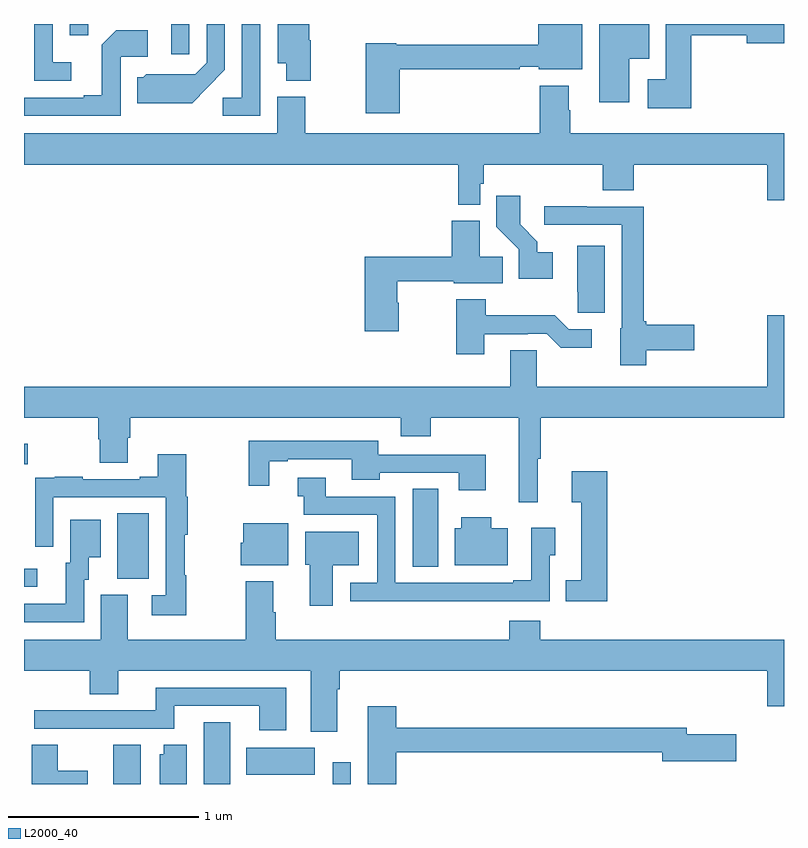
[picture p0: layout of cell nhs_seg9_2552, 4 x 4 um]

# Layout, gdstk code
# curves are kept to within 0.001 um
import gdstk
lib = gdstk.Library(unit=1e-6, precision=1e-09)
def R(c, l, rs):  # rectangles x0, y0, x1, y1
    for r in rs: c.add(gdstk.rectangle(r[:2], r[2:], *l))
def P(c, l, *ps):  # polygons
    for p in ps: c.add(gdstk.Polygon(p, *l))
L2000_40 = (2000, 40)

nhs_seg9_2552 = lib.new_cell('nhs_seg9_2552')
R(nhs_seg9_2552, L2000_40, [(257.471,1186.5,257.614,1186.706), (257.945,1186.5,258.085,1186.826), (258.624,1186.5,258.72,1186.615), (258.17,1186.55,258.529,1186.69), (257,1187.538,257.071,1187.634), (257.492,1187.581,257.656,1187.924), (259.046,1187.644,259.18,1188.053), (257,1188.182,257.02,1188.292), (257.775,1190.34,257.871,1190.5), (257.241,1190.44,257.339,1190.5)])
P(nhs_seg9_2552, L2000_40, [(260.185,1190.318),(260.29,1190.318),(260.29,1190.5),(260.027,1190.5),(260.027,1190.088),(260.185,1190.088)],
  [(260.513,1190.44),(260.804,1190.44),(260.804,1190.398),(261,1190.398),(261,1190.5),(260.378,1190.5),(260.378,1190.209),(260.283,1190.209),(260.283,1190.057),(260.513,1190.057)],
  [(258.243,1190.5),(258.147,1190.5),(258.147,1190.112),(258.045,1190.112),(258.045,1190.016),(258.243,1190.016)],
  [(257.965,1190.165),(258.057,1190.258),(258.057,1190.5),(257.961,1190.5),(257.961,1190.295),(257.901,1190.235),(257.644,1190.236),(257.628,1190.22),(257.597,1190.22),(257.597,1190.084),(257.885,1190.084)],
  [(258.51,1190.415),(258.502,1190.415),(258.502,1190.5),(258.335,1190.5),(258.335,1190.294),(258.38,1190.294),(258.38,1190.201),(258.51,1190.201)],
  [(257.248,1190.299),(257.151,1190.299),(257.151,1190.5),(257.055,1190.5),(257.055,1190.202),(257.248,1190.202)],
  [(258.977,1190.262),(259.61,1190.262),(259.61,1190.274),(259.71,1190.274),(259.71,1190.261),(259.939,1190.261),(259.939,1190.5),(259.706,1190.5),(259.706,1190.39),(258.96,1190.39),(258.96,1190.398),(258.799,1190.398),(258.799,1190.031),(258.977,1190.031)],
  [(257.508,1190.328),(257.65,1190.328),(257.65,1190.468),(257.485,1190.468),(257.409,1190.392),(257.409,1190.125),(257.315,1190.125),(257.315,1190.112),(257.001,1190.112),(257,1190.113),(257,1190.016),(257.508,1190.016)],
  [(259.401,1189.659),(259.421,1189.659),(259.421,1189.76),(260.045,1189.76),(260.045,1189.624),(260.21,1189.624),(260.21,1189.76),(260.912,1189.76),(260.912,1189.572),(261,1189.572),(261,1189.924),(259.875,1189.924),(259.875,1190.045),(259.867,1190.045),(259.867,1190.176),(259.715,1190.176),(259.715,1189.924),(258.48,1189.924),(258.48,1190.116),(258.332,1190.116),(258.332,1189.924),(257,1189.924),(257,1189.76),(259.285,1189.76),(259.285,1189.55),(259.401,1189.55)],
  [(259.783,1189.3),(259.702,1189.3),(259.702,1189.355),(259.612,1189.445),(259.612,1189.597),(259.486,1189.597),(259.486,1189.434),(259.605,1189.315),(259.605,1189.16),(259.783,1189.16)],
  [(260.274,1188.782),(260.527,1188.782),(260.527,1188.917),(260.274,1188.917),(260.274,1188.935),(260.261,1188.935),(260.261,1189.539),(259.961,1189.539),(259.961,1189.542),(259.737,1189.542),(259.737,1189.443),(260.145,1189.443),(260.145,1188.9),(260.138,1188.9),(260.138,1188.704),(260.274,1188.704)],
  [(258.972,1189.032),(258.964,1189.032),(258.964,1189.147),(259.262,1189.147),(259.262,1189.136),(259.52,1189.136),(259.52,1189.274),(259.399,1189.274),(259.399,1189.465),(259.25,1189.465),(259.25,1189.276),(258.794,1189.276),(258.794,1188.882),(258.972,1188.882)],
  [(260.056,1189.333),(259.913,1189.333),(259.913,1189.09),(259.914,1189.09),(259.914,1188.979),(260.056,1188.979)],
  [(259.423,1188.867),(259.652,1188.867),(259.652,1188.87),(259.752,1188.87),(259.825,1188.797),(259.987,1188.797),(259.987,1188.894),(259.866,1188.894),(259.793,1188.967),(259.431,1188.967),(259.431,1189.051),(259.276,1189.051),(259.276,1188.762),(259.423,1188.762)],
  [(259.703,1188.213),(259.721,1188.213),(259.721,1188.428),(261,1188.428),(261,1188.967),(260.912,1188.967),(260.912,1188.592),(259.698,1188.592),(259.698,1188.782),(259.559,1188.782),(259.559,1188.592),(257,1188.592),(257,1188.428),(257.392,1188.428),(257.392,1188.315),(257.398,1188.315),(257.398,1188.19),(257.545,1188.19),(257.545,1188.322),(257.558,1188.322),(257.558,1188.428),(258.983,1188.428),(258.983,1188.329),(259.142,1188.329),(259.142,1188.428),(259.604,1188.428),(259.604,1187.982),(259.703,1187.982)],
  [(259.429,1188.234),(258.865,1188.234),(258.865,1188.306),(258.183,1188.306),(258.183,1188.069),(258.292,1188.069),(258.292,1188.198),(258.388,1188.198),(258.388,1188.21),(258.725,1188.21),(258.725,1188.101),(258.873,1188.101),(258.873,1188.138),(259.289,1188.138),(259.289,1188.045),(259.429,1188.045)],
  [(257.854,1187.6),(257.846,1187.6),(257.846,1187.811),(257.861,1187.811),(257.861,1188.012),(257.854,1188.012),(257.854,1188.235),(257.705,1188.235),(257.705,1188.118),(257.609,1188.118),(257.609,1188.105),(257.309,1188.105),(257.309,1188.118),(257.161,1188.118),(257.161,1188.111),(257.059,1188.111),(257.059,1188.002),(257.058,1188.002),(257.058,1187.748),(257.154,1187.748),(257.154,1188.009),(257.745,1188.009),(257.745,1187.493),(257.673,1187.493),(257.673,1187.388),(257.854,1187.388)],
  [(260.069,1188.145),(259.883,1188.145),(259.883,1187.983),(259.934,1187.983),(259.934,1187.572),(259.852,1187.572),(259.852,1187.462),(260.069,1187.462)],
  [(259.469,1187.463),(259.767,1187.463),(259.767,1187.703),(259.795,1187.703),(259.795,1187.848),(259.671,1187.848),(259.671,1187.572),(259.574,1187.572),(259.574,1187.559),(258.954,1187.559),(258.954,1188.012),(258.589,1188.012),(258.589,1188.111),(258.441,1188.111),(258.441,1188.014),(258.472,1188.014),(258.472,1187.916),(258.858,1187.916),(258.858,1187.559),(258.717,1187.559),(258.717,1187.462),(259.469,1187.462)],
  [(259.546,1187.845),(259.459,1187.845),(259.459,1187.905),(259.301,1187.905),(259.301,1187.845),(259.268,1187.845),(259.268,1187.651),(259.546,1187.651)],
  [(257.316,1187.574),(257.341,1187.574),(257.341,1187.693),(257.404,1187.693),(257.404,1187.89),(257.243,1187.89),(257.243,1187.664),(257.219,1187.664),(257.219,1187.448),(257,1187.448),(257,1187.352),(257.316,1187.352)],
  [(258.391,1187.872),(258.155,1187.872),(258.155,1187.769),(258.14,1187.769),(258.14,1187.651),(258.391,1187.651)],
  [(258.625,1187.651),(258.763,1187.651),(258.763,1187.827),(258.479,1187.827),(258.479,1187.655),(258.503,1187.655),(258.503,1187.439),(258.625,1187.439)],
  [(258.649,1187),(258.662,1187),(258.662,1187.096),(260.912,1187.096),(260.912,1186.908),(261,1186.908),(261,1187.26),(259.718,1187.26),(259.718,1187.359),(259.553,1187.359),(259.553,1187.26),(258.326,1187.26),(258.326,1187.405),(258.313,1187.405),(258.313,1187.566),(258.166,1187.566),(258.166,1187.26),(257.545,1187.26),(257.545,1187.496),(257.405,1187.496),(257.405,1187.26),(257,1187.26),(257,1187.096),(257.345,1187.096),(257.345,1186.972),(257.497,1186.972),(257.497,1187.096),(258.509,1187.096),(258.509,1186.776),(258.649,1186.776)],
  [(258.379,1187.007),(257.693,1187.007),(257.693,1186.887),(257.055,1186.887),(257.055,1186.791),(257.791,1186.791),(257.791,1186.911),(258.239,1186.911),(258.239,1186.782),(258.379,1186.782)],
  [(258.959,1186.666),(260.36,1186.666),(260.36,1186.619),(260.749,1186.619),(260.749,1186.761),(260.488,1186.761),(260.488,1186.795),(258.959,1186.795),(258.959,1186.909),(258.809,1186.909),(258.809,1186.5),(258.959,1186.5)],
  [(257.335,1186.57),(257.178,1186.57),(257.178,1186.706),(257.041,1186.706),(257.041,1186.5),(257.335,1186.5)],
  [(257.857,1186.706),(257.735,1186.706),(257.735,1186.656),(257.714,1186.656),(257.714,1186.5),(257.857,1186.5)])

lib.write_gds('nhs_seg9_2552.gds')
